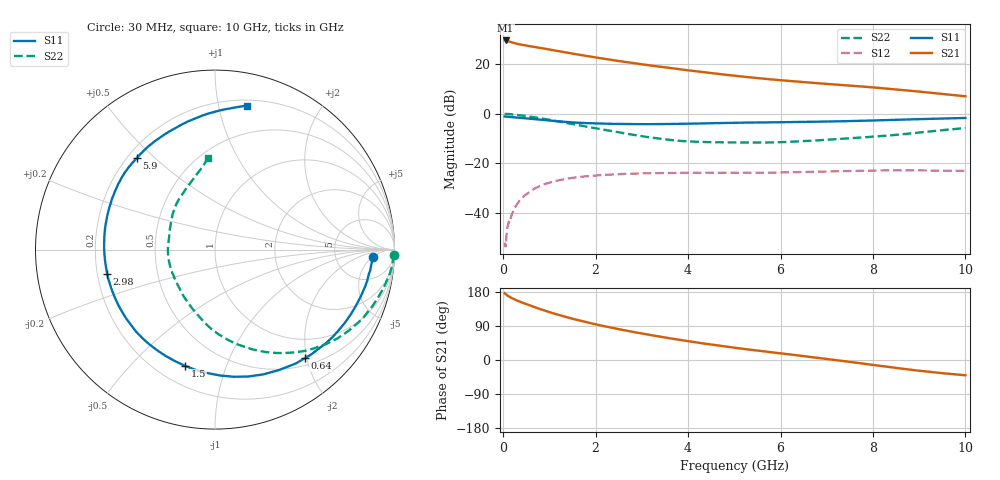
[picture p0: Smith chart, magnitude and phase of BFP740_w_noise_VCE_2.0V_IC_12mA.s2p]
! Infineon Technologies  Discrete & RF Semiconductors
! BFP740
! VCE =  2.0 V,  IC =  12 mA
! Common Emitter S-Parameters:  Jan 2016
# GHz  S  MA  R  50
!  f  S11  S21  S12  S22
! GHz  MAG  ANG  MAG  ANG  MAG  ANG  MAG  ANG
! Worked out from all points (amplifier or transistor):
!   229 points, 30 MHz to 10 GHz, reference 50 ohm
!   highest |S21| = 29.6 dB at 50 MHz (marker M1)
!   |S21| within 3 dB of that: start of sweep to 802.6 MHz
!   unconditionally stable (mu >= 1): 6.807 GHz to end of sweep
!   at 280 MHz: K = 0.17, MSG = 32.8 dB, |S12| = -37.1 dB
!   at 1.78 GHz: K = 0.36, MSG = 24.4 dB, |S12| = -25.3 dB
!   at 10 GHz: K = 1.07, MAG = 13.4 dB, |S12| = -23.1 dB
!   lowest NFmin = 0.54 dB at 450 MHz
!   S11 on the Smith chart (normalised r, x): 30 MHz: 14, -5; 640 MHz: 0.62, -1.96; 1.5 GHz: 0.31, -0.73; 2.98 GHz: 0.24, -0.11; 5.9 GHz: 0.24, +0.44; 10 GHz: 0.25, +1.21
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0.03  0.8799 -2.6  30.3 176.2  0.0025 79.8  0.9951 -1.6
0.05  0.877 -4.5  30.33 174.3  0.0023 72.1  0.9937 -3.1
0.12  0.866 -10.7  29.06 167.7  0.0066 81.6  0.9845 -7.3
0.24  0.8476 -20.4  26.86 160.1  0.0121 78.2  0.9582 -13.9
0.4  0.8231 -32.9  24.84 152.0  0.0188 72.3  0.9206 -21.9
0.64  0.785 -50.5  22.68 141.3  0.0291 62.5  0.8588 -33.2
0.8  0.7597 -62.1  21.49 134.3  0.0348 56.4  0.8128 -40.3
1  0.7311 -75.3  19.88 126.3  0.0405 50.0  0.7538 -48.5
1.28  0.691 -92.4  17.85 115.9  0.0467 42.3  0.6723 -59.0
1.5  0.6686 -104.5  16.43 108.8  0.0508 37.0  0.6174 -66.2
1.7  0.653 -115.0  15.3 102.6  0.0532 33.0  0.5695 -72.5
2.06  0.6354 -132.0  13.49 92.5  0.0571 26.4  0.4962 -83.7
2.28  0.6266 -141.4  12.52 86.7  0.0584 23.2  0.4564 -90.0
2.62  0.6186 -154.5  11.21 78.5  0.0607 18.6  0.4027 -99.6
2.98  0.6156 -167.1  10.05 70.4  0.0623 14.3  0.354 -110.4
3.4  0.6177 179.4  8.904 61.5  0.0633 10.1  0.3123 -124.2
4.1  0.6307 160.5  7.36 47.8  0.0639 4.3  0.2722 -148.5
5.1  0.6582 141.0  5.743 30.9  0.0639 -1.4  0.2628 -176.8
5.9  0.6718 130.3  4.849 19.1  0.0649 -4.1  0.2647 165.4
6.8  0.6909 118.9  4.148 5.8  0.0676 -7.6  0.2895 147.7
8.4  0.7493 95.6  3.166 -19.3  0.0716 -17.0  0.3671 117.8
10  0.8212 77.6  2.254 -40.3  0.0698 -24.6  0.5131 94.2
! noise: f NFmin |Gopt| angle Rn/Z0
0.45  0.54  0.16  4  0.16
0.9  0.55  0.16  11  0.16
1.5  0.57  0.15  22  0.15
1.9  0.6  0.15  39  0.15
2.4  0.63  0.15  46  0.14
3.5  0.73  0.13  57  0.13
5.5  0.9  0.16  211  0.12
10  1.33  0.5  -72  0.16
